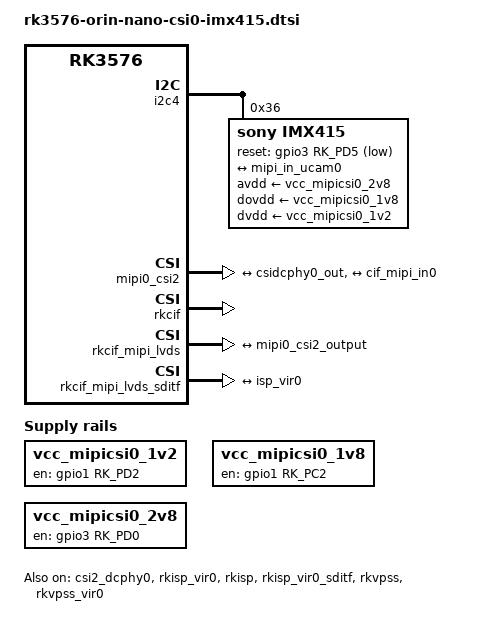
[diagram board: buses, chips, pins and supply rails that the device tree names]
// SPDX-License-Identifier: (GPL-2.0+ OR MIT)
/*
 * Guangzhou Easy EAl Technology Co., Ltd.
 *
 */

/ {
	vcc_mipicsi0_1v2: vcc-mipicsi0-1v2 {
		compatible = "regulator-fixed";
		gpio = <&gpio1 RK_PD2 GPIO_ACTIVE_HIGH>;
		pinctrl-names = "default";
		pinctrl-0 = <&mipicsi0_pwr_1V2>;
		regulator-name = "vcc_mipicsi0_1v2";
		enable-active-high;
	};
	
	vcc_mipicsi0_1v8: vcc-mipicsi0-1v8 {
		compatible = "regulator-fixed";
		gpio = <&gpio1 RK_PC2 GPIO_ACTIVE_HIGH>;
		pinctrl-names = "default";
		pinctrl-0 = <&mipicsi0_pwr_1V8>;
		regulator-name = "vcc_mipicsi0_1v8";
		enable-active-high;
	};

	vcc_mipicsi0_2v8: vcc-mipicsi0-2v8 {
		compatible = "regulator-fixed";
		gpio = <&gpio3 RK_PD0 GPIO_ACTIVE_HIGH>;
		pinctrl-names = "default";
		pinctrl-0 = <&mipicsi0_pwr_2V8>;
		regulator-name = "vcc_mipicsi0_2v8";
		enable-active-high;
	};
};

&i2c4 {
	status = "okay";
	pinctrl-0 = <&i2c4m3_xfer>;

	imx415: imx415@36 {
		compatible = "sony,imx415";
		reg = <0x36>;
		clocks = <&cru CLK_MIPI_CAMERAOUT_M0>;
		clock-names = "xvclk";
		pinctrl-names = "default";
		pinctrl-0 = <&cam_clk0m0_clk0 &csi0_rst &csi0_pwdn>;
		power-domains = <&power RK3576_PD_VI>;
		reset-gpios = <&gpio3 RK_PD5 GPIO_ACTIVE_LOW>;
		avdd-supply = <&vcc_mipicsi0_2v8>;
		dovdd-supply = <&vcc_mipicsi0_1v8>;
		dvdd-supply = <&vcc_mipicsi0_1v2>;
		rockchip,camera-module-index = <0>;
		rockchip,camera-module-facing = "back";
		rockchip,camera-module-name = "CMK-OT2022-PX1";
		rockchip,camera-module-lens-name = "IR0147-50IRC-8M-F20";
		port {
			imx415_out0: endpoint {
				remote-endpoint = <&mipi_in_ucam0>;
				data-lanes = <1 2 3 4>;
			};
		};
	};
};

&csi2_dcphy0 {
	status = "okay";

	ports {
		#address-cells = <1>;
		#size-cells = <0>;
		port@0 {
			reg = <0>;
			#address-cells = <1>;
			#size-cells = <0>;

			mipi_in_ucam0: endpoint@1 {
				reg = <1>;
				remote-endpoint = <&imx415_out0>;
				data-lanes = <1 2 3 4>;
			};
		};
		port@1 {
			reg = <1>;
			#address-cells = <1>;
			#size-cells = <0>;

			csidcphy0_out: endpoint@0 {
				reg = <0>;
				remote-endpoint = <&mipi0_csi2_input>;
			};
		};
	};
};

&mipi0_csi2 {
	status = "okay";

	ports {
		#address-cells = <1>;
		#size-cells = <0>;

		port@0 {
			reg = <0>;
			#address-cells = <1>;
			#size-cells = <0>;

			mipi0_csi2_input: endpoint@1 {
				reg = <1>;
				remote-endpoint = <&csidcphy0_out>;
			};
		};

		port@1 {
			reg = <1>;
			#address-cells = <1>;
			#size-cells = <0>;

			mipi0_csi2_output: endpoint@0 {
				reg = <0>;
				remote-endpoint = <&cif_mipi_in0>;
			};
		};
	};
};

&rkcif {
	status = "okay";
};

&rkcif_mipi_lvds {
	status = "okay";

	port {
		cif_mipi_in0: endpoint {
			remote-endpoint = <&mipi0_csi2_output>;
		};
	};
};

&rkcif_mipi_lvds_sditf {
	status = "okay";

	port {
		mipi_lvds_sditf: endpoint {
			remote-endpoint = <&isp_vir0>;
		};
	};
};

&rkisp_vir0 {
	status = "okay";

	port {
		#address-cells = <1>;
		#size-cells = <0>;

		isp_vir0: endpoint@0 {
			reg = <0>;
			remote-endpoint = <&mipi_lvds_sditf>;
		};
	};
};

&rkcif_mmu {
	status = "okay";
};

&rkisp {
	status = "okay";
};

&rkisp_mmu {
	status = "okay";
};

&rkisp_vir0_sditf {
	status = "okay";
};

&rkvpss {
	status = "okay";
};

&rkvpss_mmu {
	status = "okay";
};

&rkvpss_vir0 {
	status = "okay";
};

&pinctrl {
	camera {
		mipicsi0_pwr_1V2: mipicsi0-pwr-1V2 {
			rockchip,pins = <1 RK_PD2 RK_FUNC_GPIO &pcfg_pull_up>;
		};
		mipicsi0_pwr_1V8: mipicsi0-pwr-1V8 {
			rockchip,pins = <1 RK_PC2 RK_FUNC_GPIO &pcfg_pull_up>;
		};
		mipicsi0_pwr_2V8: mipicsi0-pwr-2V8 {
			rockchip,pins = <3 RK_PD0 RK_FUNC_GPIO &pcfg_pull_up>;
		};
		csi0_rst: csi0-rst {
			rockchip,pins = <3 RK_PD5 RK_FUNC_GPIO &pcfg_pull_up>;
		};
		csi0_pwdn: csi0-pwdn {
			rockchip,pins = <3 RK_PC7 RK_FUNC_GPIO &pcfg_pull_up>;
		};
	};
};

